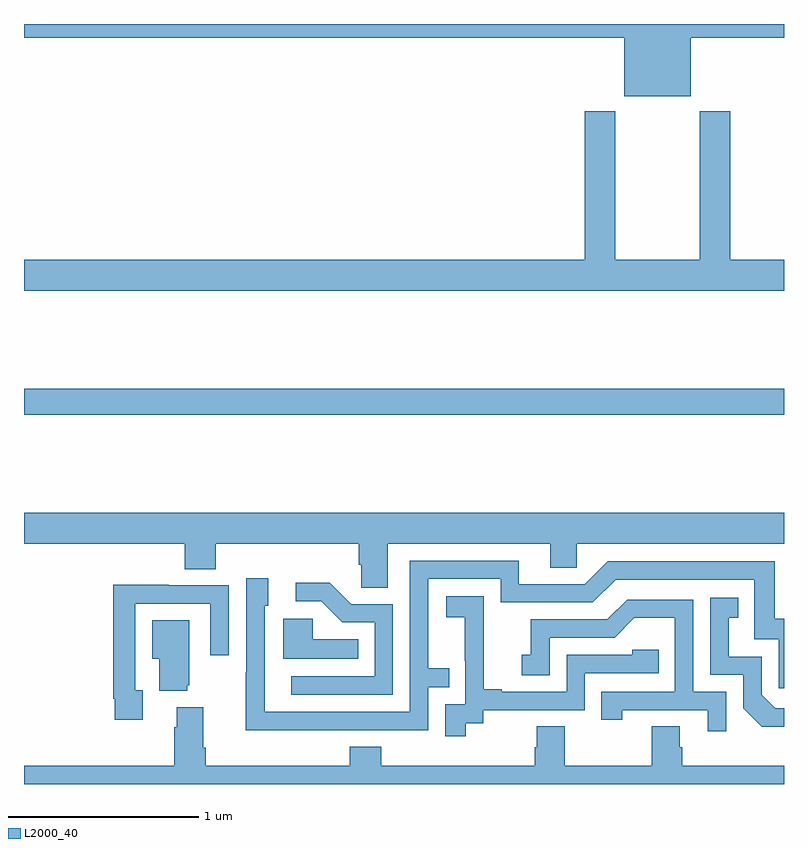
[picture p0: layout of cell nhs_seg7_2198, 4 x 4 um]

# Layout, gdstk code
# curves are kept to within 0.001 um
import gdstk
lib = gdstk.Library(unit=1e-6, precision=1e-09)
def R(c, l, rs):  # rectangles x0, y0, x1, y1
    for r in rs: c.add(gdstk.rectangle(r[:2], r[2:], *l))
def P(c, l, *ps):  # polygons
    for p in ps: c.add(gdstk.Polygon(p, *l))
L2000_40 = (2000, 40)

nhs_seg7_2198 = lib.new_cell('nhs_seg7_2198')
R(nhs_seg7_2198, L2000_40, [(255,1019.944,259,1020.08)])
P(nhs_seg7_2198, L2000_40, [(258.508,1021.928),(259,1021.928),(259,1022),(255,1022),(255,1021.928),(258.158,1021.928),(258.158,1021.619),(258.508,1021.619)],
  [(259,1020.76),(258.716,1020.76),(258.716,1021.54),(258.556,1021.54),(258.556,1020.76),(258.111,1020.76),(258.111,1021.54),(257.951,1021.54),(257.951,1020.76),(255,1020.76),(255,1020.596),(259,1020.596)],
  [(256.915,1019.264),(257.771,1019.264),(257.771,1019.137),(257.91,1019.137),(257.91,1019.264),(259,1019.264),(259,1019.428),(255,1019.428),(255,1019.264),(255.845,1019.264),(255.845,1019.131),(256.01,1019.131),(256.01,1019.264),(256.763,1019.264),(256.763,1019.155),(256.776,1019.155),(256.776,1019.032),(256.915,1019.032)],
  [(256.631,1018.284),(257.127,1018.284),(257.127,1018.509),(257.237,1018.509),(257.237,1018.61),(257.127,1018.61),(257.127,1019.079),(257.508,1019.079),(257.508,1018.956),(257.994,1018.956),(258.114,1019.076),(258.843,1019.076),(258.843,1018.761),(258.972,1018.761),(258.972,1018.503),(259,1018.503),(259,1018.87),(258.952,1018.87),(258.952,1019.172),(258.072,1019.172),(257.952,1019.052),(257.605,1019.052),(257.605,1019.175),(257.031,1019.175),(257.031,1018.38),(256.267,1018.38),(256.266,1018.938),(256.285,1018.938),(256.285,1019.083),(256.17,1019.083),(256.17,1018.589),(256.168,1018.589),(256.168,1018.283)],
  [(256.941,1018.947),(256.722,1018.947),(256.609,1019.06),(256.431,1019.06),(256.431,1018.962),(256.565,1018.962),(256.676,1018.851),(256.845,1018.851),(256.845,1018.566),(256.407,1018.566),(256.407,1018.47),(256.941,1018.47)],
  [(255.625,1018.494),(255.585,1018.494),(255.585,1018.95),(255.981,1018.95),(255.981,1018.677),(256.077,1018.677),(256.077,1019.046),(255.761,1019.046),(255.761,1019.048),(255.469,1019.048),(255.469,1018.45),(255.477,1018.45),(255.477,1018.338),(255.625,1018.338)],
  [(257.326,1018.321),(257.418,1018.321),(257.418,1018.389),(257.952,1018.389),(257.952,1018.584),(258.341,1018.584),(258.341,1018.707),(258.201,1018.707),(258.201,1018.68),(257.856,1018.68),(257.856,1018.485),(257.515,1018.485),(257.515,1018.498),(257.42,1018.498),(257.42,1018.781),(257.421,1018.781),(257.421,1018.987),(257.223,1018.987),(257.223,1018.877),(257.321,1018.877),(257.321,1018.649),(257.322,1018.649),(257.322,1018.419),(257.217,1018.419),(257.217,1018.251),(257.326,1018.251)],
  [(259,1018.398),(258.954,1018.398),(258.882,1018.47),(258.882,1018.671),(258.709,1018.671),(258.709,1018.875),(258.758,1018.875),(258.758,1018.981),(258.612,1018.981),(258.612,1018.575),(258.786,1018.575),(258.786,1018.398),(258.884,1018.301),(259,1018.301)],
  [(258.696,1018.485),(258.522,1018.485),(258.522,1018.971),(258.176,1018.971),(258.071,1018.866),(257.668,1018.866),(257.668,1018.681),(257.619,1018.681),(257.619,1018.572),(257.766,1018.572),(257.766,1018.77),(258.108,1018.77),(258.212,1018.874),(258.426,1018.874),(258.426,1018.485),(258.037,1018.485),(258.037,1018.338),(258.148,1018.338),(258.148,1018.389),(258.599,1018.389),(258.599,1018.278),(258.696,1018.278)],
  [(256.76,1018.762),(256.521,1018.762),(256.521,1018.87),(256.364,1018.87),(256.364,1018.658),(256.76,1018.658)],
  [(255.86,1018.521),(255.871,1018.521),(255.871,1018.861),(255.674,1018.861),(255.674,1018.658),(255.713,1018.658),(255.713,1018.49),(255.86,1018.49)],
  [(258.451,1018.194),(258.451,1018.304),(258.304,1018.304),(258.304,1018.096),(257.847,1018.096),(257.847,1018.304),(257.699,1018.304),(257.699,1018.194),(257.687,1018.194),(257.687,1018.096),(256.88,1018.096),(256.88,1018.195),(256.715,1018.195),(256.715,1018.096),(255.956,1018.096),(255.956,1018.192),(255.943,1018.192),(255.943,1018.405),(255.803,1018.405),(255.803,1018.298),(255.791,1018.298),(255.791,1018.096),(255,1018.096),(255,1018),(259,1018),(259,1018.096),(258.464,1018.096),(258.464,1018.194)])

lib.write_gds('nhs_seg7_2198.gds')
